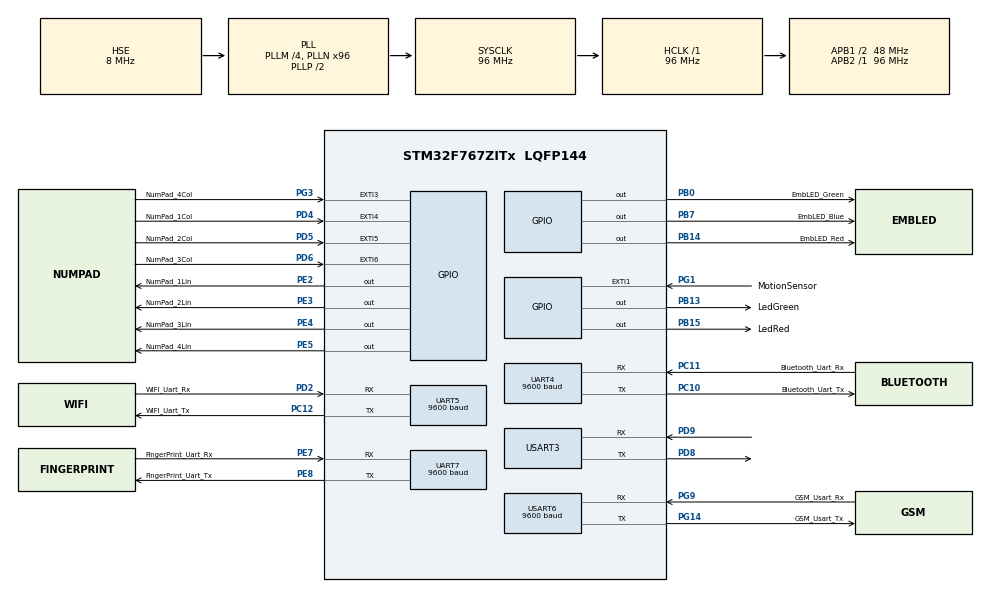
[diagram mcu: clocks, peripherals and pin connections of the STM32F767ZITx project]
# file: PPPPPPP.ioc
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Mcu.Family=STM32F7
Mcu.Name=STM32F767ZITx
Mcu.Package=LQFP144
NVIC.EXTI3_IRQn=true\:0\:0\:false\:false\:true\:true\:true
NVIC.EXTI4_IRQn=true\:0\:0\:false\:false\:true\:true\:true
NVIC.EXTI9_5_IRQn=true\:0\:0\:false\:false\:true\:true\:true
NVIC.PriorityGroup=NVIC_PRIORITYGROUP_4
NVIC.UART4_IRQn=true\:0\:0\:false\:false\:true\:true\:true
NVIC.UART5_IRQn=true\:0\:0\:false\:false\:true\:true\:true
NVIC.USART3_IRQn=true\:0\:0\:false\:false\:true\:true\:true
NVIC.USART6_IRQn=true\:0\:0\:false\:false\:true\:true\:true
PA13.Mode=Serial_Wire
PA13.Signal=SYS_JTMS-SWDIO
PA14.Mode=Serial_Wire
PA14.Signal=SYS_JTCK-SWCLK
PB0.GPIO_Label=EmbLED_Green
PB0.Signal=GPIO_Output
PB13.GPIO_Label=LedGreen
PB13.Signal=GPIO_Output
PB14.GPIO_Label=EmbLED_Red
PB14.Signal=GPIO_Output
PB15.GPIO_Label=LedRed
PB15.Signal=GPIO_Output
PB7.GPIO_Label=EmbLED_Blue
PB7.Signal=GPIO_Output
PC10.GPIO_Label=Bluetooth_Uart_Tx
PC10.Mode=Asynchronous
PC10.Signal=UART4_TX
PC11.GPIO_Label=Bluetooth_Uart_Rx
PC11.Mode=Asynchronous
PC11.Signal=UART4_RX
PC12.GPIO_Label=WIFI_Uart_Tx
PC12.Mode=Asynchronous
PC12.Signal=UART5_TX
PD2.GPIO_Label=WIFI_Uart_Rx
PD2.Mode=Asynchronous
PD2.Signal=UART5_RX
PD4.GPIO_Label=NumPad_1Col
PD4.Signal=GPXTI4
PD5.GPIO_Label=NumPad_2Col
PD5.Signal=GPXTI5
PD6.GPIO_Label=NumPad_3Col
PD6.Signal=GPXTI6
PD8.Mode=Asynchronous
PD8.Signal=USART3_TX
PD9.Mode=Asynchronous
PD9.Signal=USART3_RX
PE2.GPIO_Label=NumPad_1Lin
PE2.Signal=GPIO_Output
PE3.GPIO_Label=NumPad_2Lin
PE3.Signal=GPIO_Output
PE4.GPIO_Label=NumPad_3Lin
PE4.Signal=GPIO_Output
PE5.GPIO_Label=NumPad_4Lin
PE5.Signal=GPIO_Output
PE7.GPIO_Label=FingerPrint_Uart_Rx
PE7.Mode=Asynchronous
PE7.Signal=UART7_RX
PE8.GPIO_Label=FingerPrint_Uart_Tx
PE8.Mode=Asynchronous
PE8.Signal=UART7_TX
PG1.GPIO_Label=MotionSensor
PG1.Signal=GPXTI1
PG14.GPIO_Label=GSM_Usart_Tx
PG14.Mode=Asynchronous
PG14.Signal=USART6_TX
PG3.GPIO_Label=NumPad_4Col
PG3.Signal=GPXTI3
PG9.GPIO_Label=GSM_Usart_Rx
PG9.Mode=Asynchronous
PG9.Signal=USART6_RX
PH0/OSC_IN.Mode=HSE-External-Clock-Source
PH0/OSC_IN.Signal=RCC_OSC_IN
PH1/OSC_OUT.Mode=HSE-External-Clock-Source
PH1/OSC_OUT.Signal=RCC_OSC_OUT
ProjectManager.HeapSize=0x200
ProjectManager.StackSize=0x400
ProjectManager.TargetToolchain=MDK-ARM V5
RCC.48MHZClocksFreq_Value=24000000
RCC.AHBFreq_Value=96000000
RCC.APB1CLKDivider=RCC_HCLK_DIV2
RCC.APB1Freq_Value=48000000
RCC.APB1TimFreq_Value=96000000
RCC.APB2Freq_Value=96000000
RCC.APB2TimFreq_Value=96000000
RCC.CortexFreq_Value=96000000
RCC.HCLKFreq_Value=96000000
RCC.HSE_VALUE=8000000
RCC.HSI_VALUE=16000000
RCC.LSE_VALUE=32768
RCC.PLLM=4
RCC.PLLMUL=RCC_PLL_MUL9
RCC.PLLN=96
RCC.PLLQ=4
RCC.PLLSourceVirtual=RCC_PLLSOURCE_HSE
RCC.PRESCALERUSB=RCC_USBCLKSOURCE_PLL_DIV1_5
RCC.SYSCLKFreq_VALUE=96000000
RCC.SYSCLKSource=RCC_SYSCLKSOURCE_PLLCLK
RCC.SYSCLKSourceVirtual=RCC_SYSCLKSOURCE_PLLCLK
RCC.USBFreq_Value=48000000
RCC.VCOOutputFreq_Value=192000000
UART4.BaudRate=9600
UART5.BaudRate=9600
UART7.BaudRate=9600
USART3.VirtualMode-Asynchronous=VM_ASYNC
USART6.BaudRate=9600
USART6.VirtualMode-Asynchronous=VM_ASYNC
board=NUCLEO-F767ZI

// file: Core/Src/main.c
/* USER CODE BEGIN Header */
/**
  ******************************************************************************
  * @file           : main.c
  * @brief          : Main program body
  ******************************************************************************
  * @attention
  *
  * <h2><center>&copy; Copyright (c) 2019 STMicroelectronics.
  * All rights reserved.</center></h2>
  *
  * This software component is licensed by ST under BSD 3-Clause license,
  * the "License"; You may not use this file except in compliance with the
  * License. You may obtain a copy of the License at:
  *                        opensource.org/licenses/BSD-3-Clause
  *
  ******************************************************************************
  */
/* USER CODE END Header */

#include "main.h"
#include "usart.h"
#include "gpio.h"

/* USER CODE BEGIN Includes */

#include "bluetooth_module.h"
#include "user.h"

/* USER CODE END Includes */

void SystemClock_Config(void);

int main(void)
{

  /* MCU Configuration--------------------------------------------------------*/

  /* Reset of all peripherals, Initializes the Flash interface and the Systick. */
  HAL_Init();

  /* Configure the system clock */
  SystemClock_Config();

  /* Initialize all configured peripherals */
  MX_GPIO_Init();
  MX_USART3_UART_Init();
  MX_UART4_Init();
  MX_UART5_Init();
  MX_UART7_Init();
  MX_USART6_UART_Init();
  /* USER CODE BEGIN 2 */
	init_UARTs();
	//HAL_UART_Transmit_IT(&huart3, (uint8_t *)sizeof(char), 1);

	//user pp;
	int c = 0;
	HAL_Delay(50);
	initUser();

  /* USER CODE END 2 */

  /* Infinite loop */
  /* USER CODE BEGIN WHILE */
  while (1)
  {
		//if(!pp.parsingBT(&pp, &c))
		if(parsingBT(&c))
		{

			line_output 	|=   NumPad_1Lin_Pin;
			HAL_Delay(0);
			line_output		&=  ~NumPad_1Lin_Pin;

			line_output 	|=   NumPad_2Lin_Pin;
			HAL_Delay(0);
			line_output 	&=  ~NumPad_2Lin_Pin;

			line_output 	|=   NumPad_3Lin_Pin;
			HAL_Delay(0);
			line_output 	&=  ~NumPad_3Lin_Pin;

			line_output 	|=   NumPad_4Lin_Pin;
			HAL_Delay(0);
			line_output 	&=  ~NumPad_4Lin_Pin;

		}
		HAL_Delay(1);

    /* USER CODE END WHILE */

  }
}

void SystemClock_Config(void)
{
  RCC_OscInitTypeDef RCC_OscInitStruct = {0};
  RCC_ClkInitTypeDef RCC_ClkInitStruct = {0};
  RCC_PeriphCLKInitTypeDef PeriphClkInitStruct = {0};

  /** Configure the main internal regulator output voltage
  */
  __HAL_RCC_PWR_CLK_ENABLE();
  __HAL_PWR_VOLTAGESCALING_CONFIG(PWR_REGULATOR_VOLTAGE_SCALE3);
  /** Initializes the CPU, AHB and APB busses clocks
  */
  RCC_OscInitStruct.OscillatorType = RCC_OSCILLATORTYPE_HSE;
  RCC_OscInitStruct.HSEState = RCC_HSE_BYPASS;
  RCC_OscInitStruct.PLL.PLLState = RCC_PLL_ON;
  RCC_OscInitStruct.PLL.PLLSource = RCC_PLLSOURCE_HSE;
  RCC_OscInitStruct.PLL.PLLM = 4;
  RCC_OscInitStruct.PLL.PLLN = 96;
  RCC_OscInitStruct.PLL.PLLP = RCC_PLLP_DIV2;
  RCC_OscInitStruct.PLL.PLLQ = 4;
  if (HAL_RCC_OscConfig(&RCC_OscInitStruct) != HAL_OK)
  {
    Error_Handler();
  }
  /** Activate the Over-Drive mode
  */
  if (HAL_PWREx_EnableOverDrive() != HAL_OK)
  {
    Error_Handler();
  }
  /** Initializes the CPU, AHB and APB busses clocks
  */
  RCC_ClkInitStruct.ClockType = RCC_CLOCKTYPE_HCLK|RCC_CLOCKTYPE_SYSCLK
                              |RCC_CLOCKTYPE_PCLK1|RCC_CLOCKTYPE_PCLK2;
  RCC_ClkInitStruct.SYSCLKSource = RCC_SYSCLKSOURCE_PLLCLK;
  RCC_ClkInitStruct.AHBCLKDivider = RCC_SYSCLK_DIV1;
  RCC_ClkInitStruct.APB1CLKDivider = RCC_HCLK_DIV2;
  RCC_ClkInitStruct.APB2CLKDivider = RCC_HCLK_DIV1;

  if (HAL_RCC_ClockConfig(&RCC_ClkInitStruct, FLASH_LATENCY_3) != HAL_OK)
  {
    Error_Handler();
  }
  PeriphClkInitStruct.PeriphClockSelection = RCC_PERIPHCLK_USART3|RCC_PERIPHCLK_USART6
                              |RCC_PERIPHCLK_UART4|RCC_PERIPHCLK_UART5
                              |RCC_PERIPHCLK_UART7;
  PeriphClkInitStruct.Usart3ClockSelection = RCC_USART3CLKSOURCE_PCLK1;
  PeriphClkInitStruct.Uart4ClockSelection = RCC_UART4CLKSOURCE_PCLK1;
  PeriphClkInitStruct.Uart5ClockSelection = RCC_UART5CLKSOURCE_PCLK1;
  PeriphClkInitStruct.Usart6ClockSelection = RCC_USART6CLKSOURCE_PCLK2;
  PeriphClkInitStruct.Uart7ClockSelection = RCC_UART7CLKSOURCE_PCLK1;
  if (HAL_RCCEx_PeriphCLKConfig(&PeriphClkInitStruct) != HAL_OK)
  {
    Error_Handler();
  }
}

void Error_Handler(void)
{
}

/************************ (C) COPYRIGHT STMicroelectronics *****END OF FILE****/
